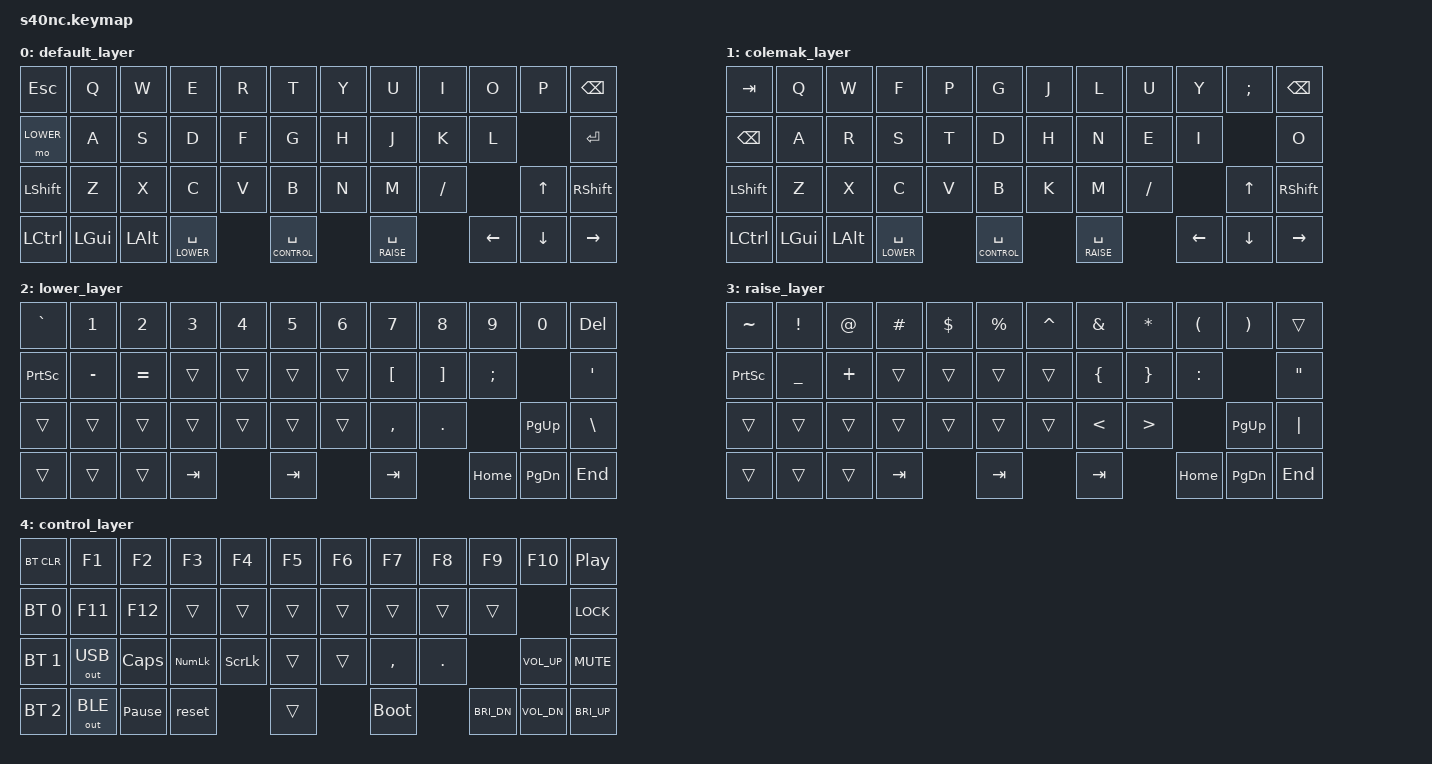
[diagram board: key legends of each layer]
/*
 * Copyright (c) 2021 The ZMK Contributors
 *
 * SPDX-License-Identifier: MIT
 */

#include <behaviors.dtsi>
#include <dt-bindings/zmk/keys.h>
#include <dt-bindings/zmk/bt.h>
#include <dt-bindings/zmk/outputs.h>

#define DEFAULT 0
#define COLEMAK 1
#define LOWER   2
#define RAISE   3
#define CONTROL 4

/ {
	keymap {
		compatible = "zmk,keymap";
		
		default_layer {
			bindings = <
                &kp ESC    &kp Q     &kp W     &kp E  &kp R     &kp T      &kp Y   &kp U  &kp I     &kp O     &kp P     &kp BSPC
                &mo LOWER  &kp A     &kp S     &kp D  &kp F     &kp G      &kp H   &kp J  &kp K     &kp L               &kp ENTER
                &kp LSHFT  &kp Z     &kp X     &kp C  &kp V     &kp B      &kp N   &kp M  &kp FSLH            &kp UP    &kp RSHFT
                &kp LCTRL  &kp LGUI  &kp LALT  &lt LOWER SPACE  &lt CONTROL SPACE  &lt RAISE SPACE  &kp LEFT  &kp DOWN  &kp RIGHT
			>;
		};

		colemak_layer {
			bindings = <
                &kp TAB    &kp Q     &kp W     &kp F  &kp P     &kp G      &kp J   &kp L  &kp U     &kp Y     &kp SEMI  &kp BSPC
                &kp BSPC   &kp A     &kp R     &kp S  &kp T     &kp D      &kp H   &kp N  &kp E     &kp I               &kp O
                &kp LSHFT  &kp Z     &kp X     &kp C  &kp V     &kp B      &kp K   &kp M  &kp FSLH            &kp UP    &kp RSHFT
                &kp LCTRL  &kp LGUI  &kp LALT  &lt LOWER SPACE  &lt CONTROL SPACE  &lt RAISE SPACE  &kp LEFT  &kp DOWN  &kp RIGHT
			>;
		};

		lower_layer {
			bindings = <
                &kp GRAVE  &kp N1     &kp N2     &kp N3  &kp N4  &kp N5  &kp N6  &kp N7     &kp N8    &kp N9     &kp N0     &kp DEL
                &kp PSCRN  &kp MINUS  &kp EQUAL  &trans  &trans  &trans  &trans  &kp LBKT   &kp RBKT  &kp SEMI              &kp APOS
                &trans     &trans     &trans     &trans  &trans  &trans  &trans  &kp COMMA  &kp DOT              &kp PG_UP  &kp BSLH
                &trans     &trans     &trans     &kp TAB         &kp TAB         &kp TAB              &kp HOME   &kp PG_DN  &kp END
			>;
		};
        
        raise_layer {
			bindings = <
                &kp TILDE  &kp EXCL   &kp AT    &kp HASH  &kp DLLR  &kp PRCNT  &kp CARET  &kp AMPS  &kp STAR  &kp LPAR   &kp RPAR   &trans
                &kp PSCRN  &kp UNDER  &kp PLUS  &trans    &trans    &trans     &trans     &kp LBRC  &kp RBRC  &kp COLON             &kp DQT
                &trans     &trans     &trans    &trans    &trans    &trans     &trans     &kp LT    &kp GT               &kp PG_UP  &kp PIPE
                &trans     &trans     &trans    &kp TAB             &kp TAB               &kp TAB             &kp HOME   &kp PG_DN  &kp END
			>;
		};
        
        control_layer {
			bindings = <
                &bt BT_CLR    &kp F1        &kp F2           &kp F3      &kp F4    &kp F5  &kp F6  &kp F7     &kp F8   &kp F9        &kp F10       &kp C_PP
                &bt BT_SEL 0  &kp F11       &kp F12          &trans      &trans    &trans  &trans  &trans     &trans   &trans                      &kp K_LOCK
                &bt BT_SEL 1  &out OUT_USB  &kp CAPS         &kp KP_NUM  &kp SLCK  &trans  &trans  &kp COMMA  &kp DOT                &kp K_VOL_UP  &kp K_MUTE
                &bt BT_SEL 2  &out OUT_BLE  &kp PAUSE_BREAK  &reset                &trans          &bootloader         &kp C_BRI_DN  &kp K_VOL_DN  &kp C_BRI_UP
			>;
		};
	};
};
            
/ {
    combos {
        compatible = "zmk,combos";

        combo_esc {
            timeout-ms = <50>;
            key-positions = <0 1>;
            bindings = <&kp ESC>;
        };
        
        combo_clmk {
            timeout-ms = <50>;
            key-positions = <0 34>;
            bindings = <&tog COLEMAK>;
        };
        
        combo_dflt {
            timeout-ms = <50>;
            key-positions = <0 35>;
            bindings = <&tog DEFAULT>;
        };
    };
};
